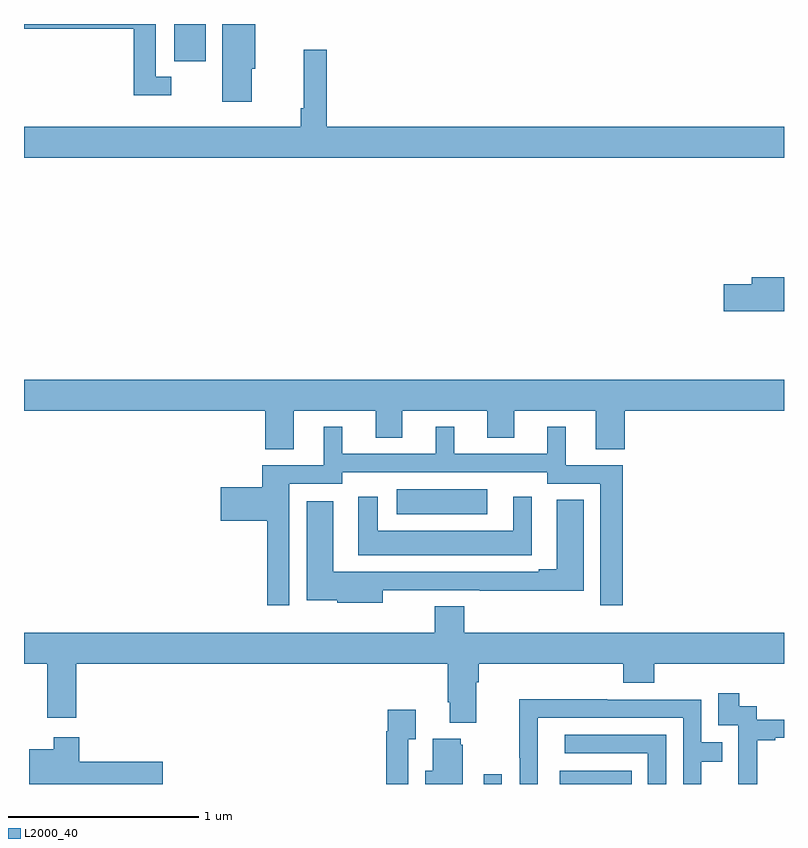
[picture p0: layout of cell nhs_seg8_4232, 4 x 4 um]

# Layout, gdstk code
import gdstk
lib = gdstk.Library(unit=1e-6, precision=1e-09)
def R(c, l, rs):  # rectangles x0, y0, x1, y1
    for r in rs: c.add(gdstk.rectangle(r[:2], r[2:], *l))
def P(c, l, *ps):  # polygons
    for p in ps: c.add(gdstk.Polygon(p, *l))
L2000_40 = (2000, 40)

nhs_seg8_4232 = lib.new_cell('nhs_seg8_4232')
R(nhs_seg8_4232, L2000_40, [(373.419,1083.9,373.515,1083.952), (373.82,1083.9,374.198,1083.97), (372.963,1085.321,373.438,1085.452), (371.792,1087.704,371.956,1087.9)])
P(nhs_seg8_4232, L2000_40, [(372.199,1087.665),(372.217,1087.665),(372.217,1087.9),(372.044,1087.9),(372.044,1087.491),(372.199,1087.491)],
  [(371.776,1087.623),(371.694,1087.623),(371.694,1087.9),(371,1087.9),(371,1087.876),(371.578,1087.876),(371.578,1087.526),(371.776,1087.526)],
  [(375,1087.36),(372.593,1087.36),(372.593,1087.765),(372.472,1087.765),(372.472,1087.456),(372.457,1087.456),(372.457,1087.36),(371,1087.36),(371,1087.196),(375,1087.196)],
  [(375,1086.566),(374.831,1086.566),(374.831,1086.53),(374.682,1086.53),(374.682,1086.388),(375,1086.388)],
  [(372.421,1085.864),(372.851,1085.864),(372.851,1085.722),(372.991,1085.722),(372.991,1085.864),(373.439,1085.864),(373.439,1085.722),(373.579,1085.722),(373.579,1085.864),(374.009,1085.864),(374.009,1085.662),(374.162,1085.662),(374.162,1085.864),(375,1085.864),(375,1086.028),(371,1086.028),(371,1085.864),(372.269,1085.864),(372.269,1085.662),(372.421,1085.662)],
  [(372.396,1085.481),(372.675,1085.481),(372.675,1085.541),(373.755,1085.541),(373.755,1085.481),(374.034,1085.481),(374.034,1084.842),(374.15,1084.842),(374.15,1085.577),(373.852,1085.577),(373.852,1085.779),(373.754,1085.779),(373.754,1085.637),(373.264,1085.637),(373.264,1085.779),(373.166,1085.779),(373.166,1085.637),(372.676,1085.637),(372.676,1085.779),(372.578,1085.779),(372.578,1085.577),(372.254,1085.577),(372.254,1085.463),(372.036,1085.463),(372.036,1085.285),(372.28,1085.285),(372.28,1084.842),(372.396,1084.842)],
  [(373.672,1085.413),(373.574,1085.413),(373.574,1085.233),(372.862,1085.233),(372.862,1085.413),(372.758,1085.413),(372.758,1085.105),(373.672,1085.105)],
  [(372.889,1084.92),(373.399,1084.92),(373.399,1084.918),(373.945,1084.918),(373.945,1085.395),(373.805,1085.395),(373.805,1085.029),(373.709,1085.029),(373.709,1085.016),(372.628,1085.016),(372.628,1085.389),(372.488,1085.389),(372.488,1084.868),(372.648,1084.868),(372.648,1084.853),(372.889,1084.853)],
  [(373.381,1084.436),(373.394,1084.436),(373.394,1084.532),(374.153,1084.532),(374.153,1084.433),(374.318,1084.433),(374.318,1084.532),(375,1084.532),(375,1084.696),(373.316,1084.696),(373.316,1084.835),(373.163,1084.835),(373.163,1084.696),(371,1084.696),(371,1084.532),(371.123,1084.532),(371.123,1084.248),(371.276,1084.248),(371.276,1084.532),(373.229,1084.532),(373.229,1084.33),(373.241,1084.33),(373.241,1084.223),(373.381,1084.223)],
  [(374.858,1084.131),(374.953,1084.131),(374.953,1084.143),(375,1084.143),(375,1084.239),(374.856,1084.239),(374.856,1084.308),(374.764,1084.308),(374.764,1084.378),(374.655,1084.378),(374.655,1084.209),(374.76,1084.209),(374.76,1083.98),(374.759,1083.98),(374.759,1083.9),(374.858,1083.9)],
  [(373.704,1084.248),(374.469,1084.248),(374.469,1083.9),(374.565,1083.9),(374.565,1084.018),(374.675,1084.018),(374.675,1084.119),(374.565,1084.119),(374.565,1084.344),(374.069,1084.344),(374.069,1084.346),(373.606,1084.346),(373.606,1084.039),(373.608,1084.039),(373.608,1083.9),(373.704,1083.9)],
  [(373.023,1084.135),(373.063,1084.135),(373.063,1084.291),(372.915,1084.291),(372.915,1084.178),(372.907,1084.178),(372.907,1083.9),(373.023,1083.9)],
  [(374.379,1084.158),(373.845,1084.158),(373.845,1084.062),(374.283,1084.062),(374.283,1083.9),(374.379,1083.9)],
  [(371.729,1084.016),(371.291,1084.016),(371.291,1084.147),(371.156,1084.147),(371.156,1084.084),(371.027,1084.084),(371.027,1083.9),(371.729,1083.9)],
  [(373.309,1084.107),(373.298,1084.107),(373.298,1084.138),(373.151,1084.138),(373.151,1083.97),(373.112,1083.97),(373.112,1083.9),(373.309,1083.9)])

lib.write_gds('nhs_seg8_4232.gds')
